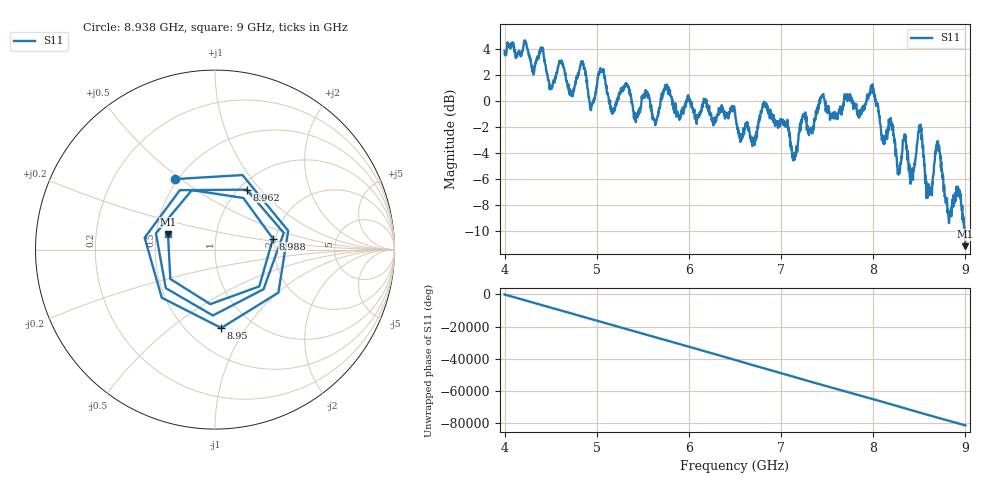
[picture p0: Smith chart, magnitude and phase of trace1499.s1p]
! Created with skrf 1.8.0 (http://scikit-rf.org).
# Hz S RI R 50.0
!freq ReS11 ImS11
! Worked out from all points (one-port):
!   1601 points, 4 GHz to 9 GHz, reference 50 ohm
!   lowest |S11| = -11.2 dB at 9 GHz (marker M1), VSWR 1.76, Z = 28.9 + j5.44 ohm
!   |S11| at or under -10 dB: 8.991861 GHz to end of sweep
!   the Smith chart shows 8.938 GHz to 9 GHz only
!   S11 on the Smith chart (normalised r, x): 8.938 GHz: 0.48, +0.47; 8.95 GHz: 0.72, -0.78; 8.962 GHz: 1.09, +0.85; 8.988 GHz: 1.93, +0.26; 9 GHz: 0.58, +0.11
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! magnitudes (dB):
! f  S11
! 4 GHz  3.8
! 4.625 GHz  3.0
! 4.722 GHz  0.7
! 4.85 GHz  2.8
! 4.941 GHz  -0.5
! 5.05 GHz  2.2
! 5.172 GHz  -0.7
! 5.25 GHz  0.7
! 5.875 GHz  -1.0
! 6.5 GHz  -0.8
! 6.697 GHz  -3.3
! 6.828 GHz  -0.3
! 7.125 GHz  -4.4
! 7.441 GHz  0.3
! 7.75 GHz  0.5
! 7.994 GHz  0.9
! 8.109 GHz  -3.3
! 8.375 GHz  -3.9
! 8.422 GHz  -5.3
! 8.506 GHz  -2.1
! 8.6 GHz  -6.9
! 8.697 GHz  -3.1
! 8.822 GHz  -9.4
! 8.938 GHz  -6.9
! 8.95 GHz  -7.2
! 8.962 GHz  -8.5
! 8.988 GHz  -9.7
! 9 GHz  -11.2
